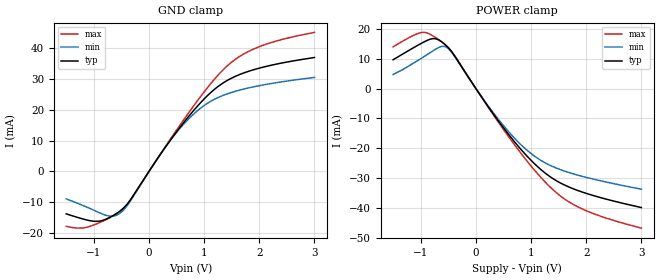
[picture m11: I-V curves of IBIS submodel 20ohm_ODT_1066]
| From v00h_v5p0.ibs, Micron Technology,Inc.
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| SUBMODEL 20ohm_ODT_1066
[Submodel]   20ohm_ODT_1066
Submodel_type  Dynamic_clamp
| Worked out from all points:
|   POWER clamp passes 1 mA (typ) near -0.04 V on its own axis
[GND Clamp]
|   Voltage   I(typ)   I(min)   I(max)
-1.5V     -13.72mA   -8.872mA   -17.78mA
-1.205V   -15.35mA   -10.97mA   -18.31mA
-925mV    -16.14mA   -13.16mA   -16.79mA
-740mV    -15.13mA   -14.39mA   -15.25mA
-590mV    -13.63mA   -14.19mA   -13.69mA
-360mV    -9.799mA   -10.17mA   -9.766mA
460mV     11.86mA    11.73mA    12.33mA
995mV     23.35mA    21.26mA    25.62mA
1.37V     28.92mA    24.77mA    33.33mA
1.74V     32mA       26.74mA    38.23mA
2.235V    34.43mA    28.49mA    41.8mA
3V        36.86mA    30.42mA    44.99mA
[POWER Clamp]
|   Voltage   I(typ)   I(min)   I(max)
-1.5V     9.644mA    4.699mA    13.99mA
-935mV    15.67mA    10.77mA    18.83mA
-730mV    16.69mA    13.18mA    17.1mA
-540mV    14.44mA    13.92mA    14.44mA
-415mV    11.73mA    11.55mA    11.84mA
175mV     -4.783mA   -4.603mA   -4.924mA
495mV     -13.02mA   -12.32mA   -13.59mA
855mV     -21.21mA   -19.49mA   -22.63mA
1.185V    -27.28mA   -24.18mA   -29.95mA
1.525V    -31.6mA    -27.15mA   -35.94mA
1.865V    -34.32mA   -29.14mA   -39.85mA
3V        -39.93mA   -33.77mA   -46.84mA
